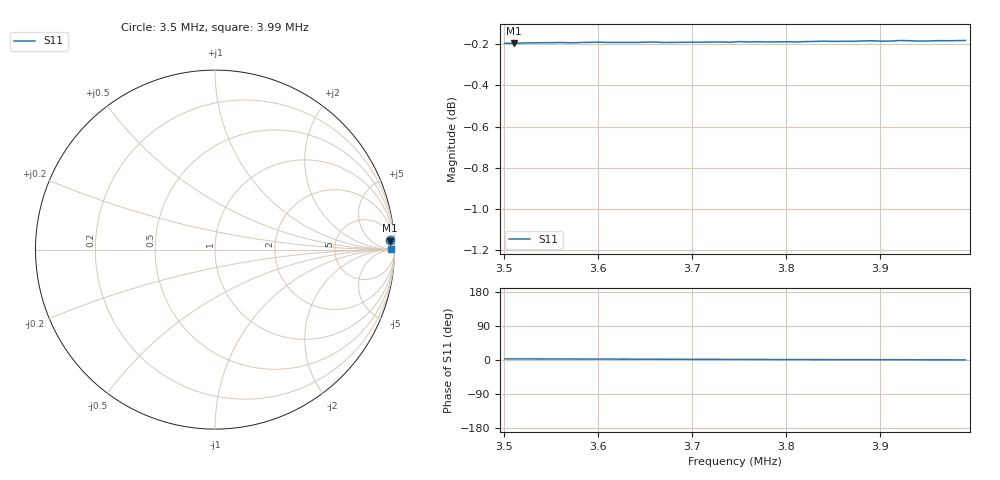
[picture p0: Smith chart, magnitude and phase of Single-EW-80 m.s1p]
# HZ S RI R 50
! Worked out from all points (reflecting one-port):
!   50 points, 3.5 MHz to 3.99 MHz, reference 50 ohm
!   lowest |S11| = -0.2 dB at 3.51 MHz (marker M1), VSWR 88.72, Z = 725 + j1.64e+03 ohm
!   phase of S11 starts at 3 deg and turns -3 deg over the sweep
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3500200  0.9764 0.0509
3510204  0.9764 0.0499
3530212  0.9768 0.048
3540216  0.977 0.0468
3560224  0.9772 0.0449
3570228  0.9771 0.0438
3600240  0.9775 0.0408
3630252  0.9775 0.0382
3660264  0.9778 0.035
3670268  0.9776 0.0341
3690276  0.9778 0.0323
3720288  0.978 0.0293
3730292  0.9781 0.0285
3740296  0.978 0.0275
3750300  0.9783 0.0265
3760304  0.9782 0.0256
3770308  0.9783 0.0246
3810324  0.9783 0.0209
3840336  0.9787 0.0182
3870348  0.9787 0.0156
3890356  0.9791 0.0137
3900360  0.9788 0.0129
3910364  0.9789 0.012
3920368  0.9792 0.011
3930372  0.9791 0.0102
3940376  0.9789 0.00928
3970388  0.9791 0.00674
3990396  0.9793 0.00479
